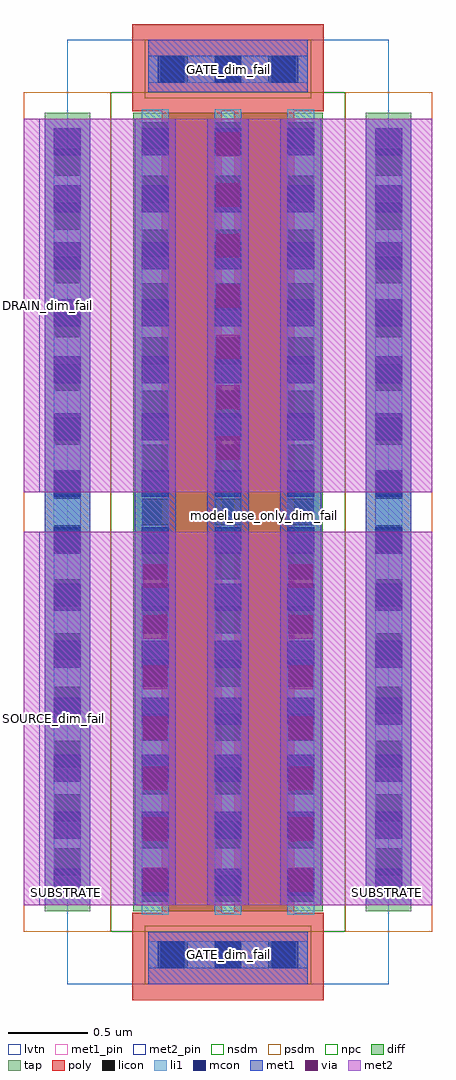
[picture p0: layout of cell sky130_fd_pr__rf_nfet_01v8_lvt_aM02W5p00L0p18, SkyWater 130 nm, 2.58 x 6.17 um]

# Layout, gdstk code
import gdstk
lib = gdstk.Library(unit=1e-6, precision=1e-09)
def R(c, l, rs):  # rectangles x0, y0, x1, y1
    for r in rs: c.add(gdstk.rectangle(r[:2], r[2:], *l))
def A(c, l, x, y, w, h, nx, ny, dx, dy):  # array of equal rectangles
    R(c, l, [(x+i*dx, y+j*dy, x+i*dx+w, y+j*dy+h) for i in range(nx) for j in range(ny)])
def P(c, l, *ps):  # polygons
    for p in ps: c.add(gdstk.Polygon(p, *l))
diff = (65, 20)
tap = (65, 44)
poly = (66, 20)
licon = (66, 44)
li1 = (67, 20)
mcon = (67, 44)
met1_pin = (68, 16)
met1 = (68, 20)
via = (68, 44)
met2_pin = (69, 16)
met2 = (69, 20)
nsdm = (93, 44)
psdm = (94, 20)
npc = (95, 20)
lvtn = (125, 44)

sky130_fd_pr__rf_nfet_01 = lib.new_cell('sky130_fd_pr__rf_nfet_01v8_lvt_aM02W5p00L0p18')
R(sky130_fd_pr__rf_nfet_01, diff, [(0.74,0.51,1.94,5.56)])
R(sky130_fd_pr__rf_nfet_01, tap, [(0.18,0.51,0.47,5.56), (2.21,0.51,2.5,5.56)])
P(sky130_fd_pr__rf_nfet_01, poly, [(0.735,-0.05),(0.735,0.5),(0.92,0.5),(0.92,5.57),(1.3,5.57),(1.3,0.5),(1.38,0.5),(1.38,5.57),(0.735,5.57),(0.735,6.12),(1.945,6.12),(1.945,5.57),(1.76,5.57),(1.76,0.5),(1.945,0.5),(1.945,-0.05)])
A(sky130_fd_pr__rf_nfet_01, licon, 0.915, 0.15, 0.17, 0.17, 3, 2, 0.34, 5.6)
A(sky130_fd_pr__rf_nfet_01, licon, 0.795, 0.57, 0.17, 0.17, 3, 15, 0.46, 0.34)
A(sky130_fd_pr__rf_nfet_01, licon, 0.24, 0.74, 0.17, 0.17, 1, 14, 0, 0.34)
A(sky130_fd_pr__rf_nfet_01, licon, 2.27, 0.74, 0.17, 0.17, 1, 14, 0, 0.34)
A(sky130_fd_pr__rf_nfet_01, li1, 0.795, 0.49, 0.17, 5.09, 3, 1, 0.46, 0)
A(sky130_fd_pr__rf_nfet_01, li1, 0.795, 1.69, 0.17, 2.69, 3, 1, 0.46, 0)
R(sky130_fd_pr__rf_nfet_01, li1, [(0.835,0.15,1.845,0.32), (0.895,0.15,1.785,0.32), (0.24,0.61,0.41,5.46), (2.27,0.61,2.44,5.46), (0.24,0.66,0.41,5.41), (2.27,0.66,2.44,5.41), (0.24,1.68,0.41,4.39), (2.27,1.68,2.44,4.39), (0.835,5.75,1.845,5.92), (0.895,5.75,1.785,5.92)])
A(sky130_fd_pr__rf_nfet_01, mcon, 0.895, 0.15, 0.17, 0.17, 3, 2, 0.36, 5.6)
A(sky130_fd_pr__rf_nfet_01, mcon, 0.24, 0.61, 0.17, 0.17, 1, 14, 0, 0.36)
A(sky130_fd_pr__rf_nfet_01, mcon, 0.795, 0.61, 0.17, 0.17, 3, 14, 0.46, 0.36)
A(sky130_fd_pr__rf_nfet_01, mcon, 2.27, 0.61, 0.17, 0.17, 1, 14, 0, 0.36)
R(sky130_fd_pr__rf_nfet_01, met1_pin, [(0.835,0.05,1.845,0.38), (0.18,0.55,0.47,0.63), (2.21,0.55,2.5,0.63), (0.835,5.69,1.845,6.02)])
A(sky130_fd_pr__rf_nfet_01, met1, 0.75, 0.55, 0.26, 4.97, 3, 1, 0.46, 0)
R(sky130_fd_pr__rf_nfet_01, met1, [(0.835,0.05,1.845,0.38), (0.18,0.55,0.47,5.52), (0.75,0.55,1.01,2.79), (1.67,0.55,1.93,2.79), (2.21,0.55,2.5,5.52), (1.21,3.28,1.47,5.52), (0.835,5.69,1.845,6.02)])
A(sky130_fd_pr__rf_nfet_01, via, 0.805, 0.635, 0.15, 0.15, 1, 7, 0, 0.32)
A(sky130_fd_pr__rf_nfet_01, via, 1.725, 0.635, 0.15, 0.15, 1, 7, 0, 0.32)
A(sky130_fd_pr__rf_nfet_01, via, 1.265, 3.365, 0.15, 0.15, 1, 7, 0, 0.32)
R(sky130_fd_pr__rf_nfet_01, met2_pin, [(0.05,0.55,0.15,2.91), (0.05,3.16,0.15,5.52)])
R(sky130_fd_pr__rf_nfet_01, met2, [(0.05,0.55,2.63,2.91), (0.75,0.55,1.01,2.79), (1.67,0.55,1.93,2.79), (0.05,3.16,2.63,5.52), (1.21,3.28,1.47,5.52)])
R(sky130_fd_pr__rf_nfet_01, nsdm, [(0.6,0.38,2.08,5.69)])
R(sky130_fd_pr__rf_nfet_01, psdm, [(0.05,0.38,0.6,5.69), (2.08,0.38,2.63,5.69)])
R(sky130_fd_pr__rf_nfet_01, npc, [(0.815,0.05,1.865,0.42), (0.815,5.65,1.865,6.02)])
R(sky130_fd_pr__rf_nfet_01, lvtn, [(0.325,0.05,2.355,6.02)])
sky130_fd_pr__rf_nfet_01.add(gdstk.Label('model_use_only_dim_fail', (1.57,3.015), layer=66, texttype=83))
sky130_fd_pr__rf_nfet_01.add(gdstk.Label('model_use_only_dim_fail', (1.11,3.015), layer=66, texttype=83))
sky130_fd_pr__rf_nfet_01.add(gdstk.Label('DRAIN_dim_fail', (0.15,4.34), layer=69, texttype=5))
sky130_fd_pr__rf_nfet_01.add(gdstk.Label('SOURCE_dim_fail', (0.15,1.73), layer=69, texttype=5))
sky130_fd_pr__rf_nfet_01.add(gdstk.Label('GATE_dim_fail', (1.34,5.835), layer=68, texttype=5))
sky130_fd_pr__rf_nfet_01.add(gdstk.Label('GATE_dim_fail', (1.34,0.235), layer=68, texttype=5))
sky130_fd_pr__rf_nfet_01.add(gdstk.Label('SUBSTRATE', (2.35,0.63), layer=68, texttype=5))
sky130_fd_pr__rf_nfet_01.add(gdstk.Label('SUBSTRATE', (0.32,0.63), layer=68, texttype=5))

lib.write_gds('sky130_fd_pr__rf_nfet_01v8_lvt_aM02W5p00L0p18.gds')
